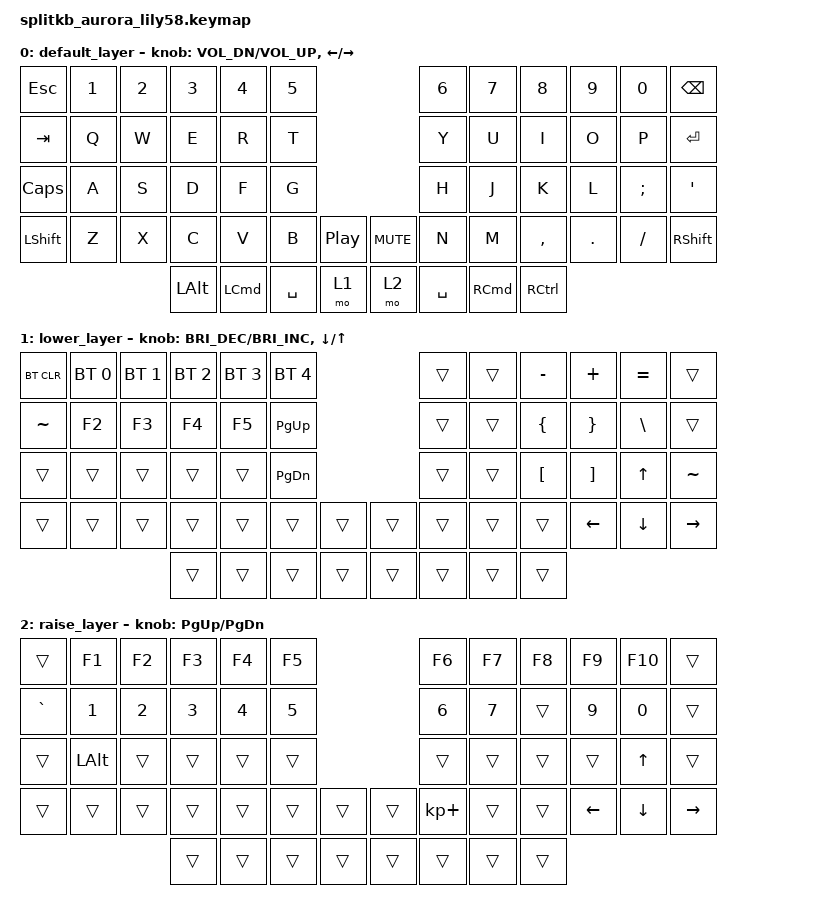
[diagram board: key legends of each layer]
/*
 * Copyright (c) 2022 The ZMK Contributors
 *
 * SPDX-License-Identifier: MIT
 */

#include <behaviors.dtsi>
#include <dt-bindings/zmk/bt.h>
#include <dt-bindings/zmk/keys.h>

&nice_view_spi {
    cs-gpios = <&gpio0 6 GPIO_ACTIVE_HIGH>;
};

&left_encoder { steps = <72>; };

&right_encoder { steps = <72>; };

&sensors {
    sensors = <&left_encoder &right_encoder>;
    triggers-per-rotation = <36>;
};

/ {
    keymap {
        compatible = "zmk,keymap";

        default_layer {
            // ------------------------------------------------------------------------------------------------------------
            // |  ESC  |  1  |  2  |  3   |  4   |  5   |                   |  6   |  7    |  8    |  9   |   0   |   `   |
            // |  TAB  |  Q  |  W  |  E   |  R   |  T   |                   |  Y   |  U    |  I    |  O   |   P   |   -   |
            // |  CTRL |  A  |  S  |  D   |  F   |  G   |                   |  H   |  J    |  K    |  L   |   ;   |   '   |
            // | SHIFT |  Z  |  X  |  C   |  V   |  B   |   "["  |  |  "]"  |  N   |  M    |  ,    |  .   |   /   | SHIFT |
            //                     | ALT  | GUI  | LOWER|  SPACE |  | ENTER | RAISE| BSPC  | GUI   |

            bindings = <
&kp ESC         &kp N1  &kp N2  &kp N3        &kp N4            &kp N5                                     &kp N6     &kp N7             &kp N8             &kp N9   &kp N0    &kp BACKSPACE
&kp TAB         &kp Q   &kp W   &kp E         &kp R             &kp T                                      &kp Y      &kp U              &kp I              &kp O    &kp P     &kp ENTER
&kp CAPSLOCK    &kp A   &kp S   &kp D         &kp F             &kp G                                      &kp H      &kp J              &kp K              &kp L    &kp SEMI  &kp SQT
&kp LEFT_SHIFT  &kp Z   &kp X   &kp C         &kp V             &kp B      &kp C_PLAY_PAUSE    &kp K_MUTE  &kp N      &kp M              &kp COMMA          &kp DOT  &kp FSLH  &kp RSHFT
                                &kp LEFT_ALT  &kp LEFT_COMMAND  &kp SPACE  &mo 1               &mo 2       &kp SPACE  &kp RIGHT_COMMAND  &kp RIGHT_CONTROL
            >;

            sensor-bindings = <
&inc_dec_kp C_VOL_DN C_VOL_UP &inc_dec_kp LEFT_ARROW RIGHT_ARROW
            >;
        };

        lower_layer {
            // ------------------------------------------------------------------------------------------------------------
            // | BTCLR | BT1 | BT2 |  BT3 |  BT4 |  BT5 |                   |      |       |       |      |       |       |
            // |  F1   |  F2 |  F3 |  F4  |  F5  |  F6  |                   |  F7  |  F8   |  F9   |  F10 |  F11  |  F12  |
            // |   `   |  !  |  @  |  #   |  $   |  %   |                   |  ^   |  &    |  *    |  (   |   )   |   ~   |
            // |       |     |     |      |      |      |        |  |       |      |  _    |  +    |  {   |   }   |  "|"  |
            //                     |      |      |      |        |  |       |      |       |       |

            bindings = <
&bt BT_CLR  &bt BT_SEL 0  &bt BT_SEL 1  &bt BT_SEL 2  &bt BT_SEL 3  &bt BT_SEL 4                     &trans  &trans  &kp MINUS         &kp PLUS           &kp EQUAL       &trans
&kp TILDE   &kp F2        &kp F3        &kp F4        &kp F5        &kp PAGE_UP                      &trans  &trans  &kp LEFT_BRACE    &kp RIGHT_BRACE    &kp BACKSLASH   &trans
&trans      &trans        &trans        &trans        &trans        &kp PAGE_DOWN                    &trans  &trans  &kp LEFT_BRACKET  &kp RIGHT_BRACKET  &kp UP_ARROW    &kp TILDE
&trans      &trans        &trans        &trans        &trans        &trans         &trans    &trans  &trans  &trans  &trans            &kp LEFT_ARROW     &kp DOWN_ARROW  &kp RIGHT_ARROW
                                        &trans        &trans        &trans         &trans    &trans  &trans  &trans  &trans
            >;

            sensor-bindings =
                <&inc_dec_kp C_BRIGHTNESS_DEC C_BRIGHTNESS_INC>,
                <&inc_dec_kp DOWN_ARROW UP_ARROW>;
        };

        raise_layer {
            // ------------------------------------------------------------------------------------------------------------
            // |       |     |     |      |      |      |                   |      |       |       |      |       |       |
            // |   `   |  1  |  2  |  3   |  4   |  5   |                   |  6   |   7   |   8   |  9   |   0   |       |
            // |   F1  |  F2 |  F3 |  F4  |  F5  |  F6  |                   |      |   <-  |   v   |  ^   |  ->   |       |
            // |   F7  |  F8 |  F9 |  F10 |  F11 |  F12 |        |  |       |  +   |   -   |   =   |  [   |   ]   |   \   |
            //                     |      |      |      |        |  |       |      |       |       |

            bindings = <
&trans     &kp F1        &kp F2  &kp F3  &kp F4  &kp F5                    &kp F6       &kp F7  &kp F8  &kp F9    &kp F10         &trans
&kp GRAVE  &kp N1        &kp N2  &kp N3  &kp N4  &kp N5                    &kp N6       &kp N7  &trans  &kp N9    &kp N0          &trans
&trans     &kp LEFT_ALT  &trans  &trans  &trans  &trans                    &trans       &trans  &trans  &trans    &kp UP_ARROW    &trans
&trans     &trans        &trans  &trans  &trans  &trans  &trans    &trans  &kp KP_PLUS  &trans  &trans  &kp LEFT  &kp DOWN_ARROW  &kp RIGHT
                                 &trans  &trans  &trans  &trans    &trans  &trans       &trans  &trans
            >;

            sensor-bindings = <&inc_dec_kp PAGE_UP PAGE_DOWN>;
        };
    };
};
